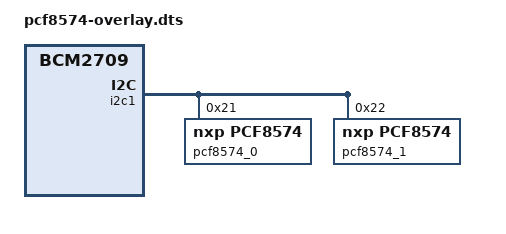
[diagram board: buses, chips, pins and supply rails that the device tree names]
// Definitions for PCF8574 Gpio Port Expander

/dts-v1/;
/plugin/;

/ {
	compatible = "brcm,bcm2835", "brcm,bcm2708", "brcm,bcm2709";
	fragment@0 {
		target = <&i2c1>;
		__overlay__ {
			#address-cells = <1>;
			#size-cells = <0>;

			pcf8574_0 {
				compatible = "nxp,pcf8574";
				reg = <0x21>;
				gpio-controller;
				#gpio-cells = <2>;
				status = "okay";
			};
			pcf8574_1 {
				compatible = "nxp,pcf8574";
                                reg = <0x22>;
                                gpio-controller;
                                #gpio-cells = <2>;
                                status = "okay";
			};
		};		
	};
};

